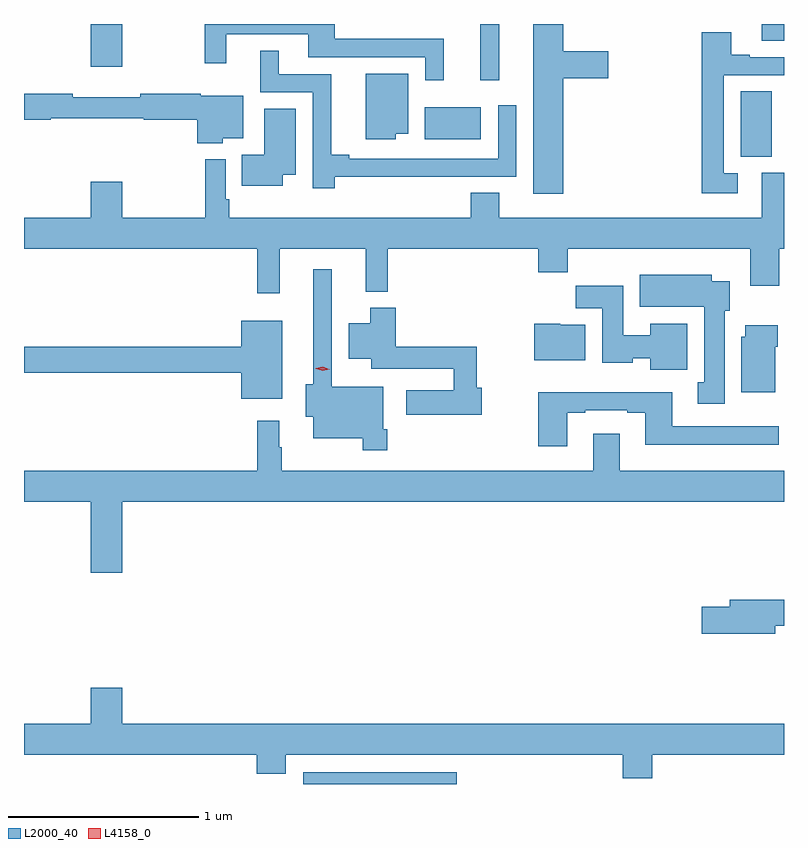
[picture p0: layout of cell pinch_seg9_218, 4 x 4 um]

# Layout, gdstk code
import gdstk
lib = gdstk.Library(unit=1e-6, precision=1e-09)
def R(c, l, rs):  # rectangles x0, y0, x1, y1
    for r in rs: c.add(gdstk.rectangle(r[:2], r[2:], *l))
def P(c, l, *ps):  # polygons
    for p in ps: c.add(gdstk.Polygon(p, *l))
L2000_40 = (2000, 40)
L4158_0 = (4158, 0)

pinch_seg9_218 = lib.new_cell('pinch_seg9_218')
R(pinch_seg9_218, L2000_40, [(609.681,1205.591,610.489,1205.652), (611.984,1208.893,612.148,1209.236), (610.322,1208.984,610.615,1209.154), (610.613,1209.294,610.712,1209.591), (608.564,1209.366,608.728,1209.591), (612.095,1209.502,612.212,1209.591)])
P(pinch_seg9_218, L2000_40, [(611.051,1209.305),(611.287,1209.305),(611.287,1209.447),(611.051,1209.447),(611.051,1209.591),(610.892,1209.591),(610.892,1208.697),(611.051,1208.697)],
  [(610.421,1209.513),(609.847,1209.513),(609.847,1209.591),(609.163,1209.591),(609.163,1209.384),(609.277,1209.384),(609.277,1209.536),(609.707,1209.536),(609.707,1209.417),(610.323,1209.417),(610.323,1209.294),(610.421,1209.294)],
  [(611.968,1208.805),(611.895,1208.805),(611.895,1209.321),(612.212,1209.321),(612.212,1209.417),(612.031,1209.417),(612.031,1209.43),(611.935,1209.43),(611.935,1209.547),(611.779,1209.547),(611.779,1208.7),(611.968,1208.7)],
  [(609.848,1208.786),(610.478,1208.786),(610.478,1208.787),(610.803,1208.787),(610.803,1209.163),(610.707,1209.163),(610.707,1208.883),(609.925,1208.883),(609.925,1208.903),(609.83,1208.903),(609.83,1209.327),(609.553,1209.327),(609.553,1209.451),(609.455,1209.451),(609.455,1209.231),(609.732,1209.231),(609.732,1208.727),(609.848,1208.727)],
  [(610.168,1209.014),(610.234,1209.014),(610.234,1209.328),(610.01,1209.328),(610.01,1208.984),(610.168,1208.984)],
  [(609.258,1208.99),(609.367,1208.99),(609.367,1209.214),(609.141,1209.214),(609.141,1209.224),(608.824,1209.224),(608.824,1209.205),(608.468,1209.205),(608.468,1209.224),(608.212,1209.224),(608.212,1209.088),(608.353,1209.088),(608.353,1209.096),(608.841,1209.096),(608.841,1209.088),(609.125,1209.088),(609.125,1208.963),(609.258,1208.963)],
  [(609.574,1208.798),(609.643,1208.798),(609.643,1209.146),(609.476,1209.146),(609.476,1208.902),(609.358,1208.902),(609.358,1208.741),(609.574,1208.741)],
  [(609.557,1208.408),(610.01,1208.408),(610.01,1208.183),(610.127,1208.183),(610.127,1208.408),(610.919,1208.408),(610.919,1208.284),(611.075,1208.284),(611.075,1208.408),(612.035,1208.408),(612.035,1208.214),(612.188,1208.214),(612.188,1208.408),(612.212,1208.408),(612.212,1208.808),(612.095,1208.808),(612.095,1208.572),(610.714,1208.572),(610.714,1208.702),(610.562,1208.702),(610.562,1208.572),(609.293,1208.572),(609.293,1208.668),(609.273,1208.668),(609.273,1208.878),(609.165,1208.878),(609.165,1208.572),(608.728,1208.572),(608.728,1208.761),(608.564,1208.761),(608.564,1208.572),(608.212,1208.572),(608.212,1208.408),(609.439,1208.408),(609.439,1208.175),(609.557,1208.175)],
  [(610.124,1207.459),(610.104,1207.459),(610.104,1207.681),(609.831,1207.681),(609.831,1208.299),(609.734,1208.299),(609.734,1207.694),(609.695,1207.694),(609.695,1207.523),(609.734,1207.523),(609.734,1207.412),(609.996,1207.412),(609.996,1207.347),(610.124,1207.347)],
  [(611.899,1208.082),(611.926,1208.082),(611.926,1208.236),(611.833,1208.236),(611.833,1208.272),(611.453,1208.272),(611.453,1208.102),(611.792,1208.102),(611.792,1207.706),(611.759,1207.706),(611.759,1207.593),(611.899,1207.593)],
  [(611.704,1208.014),(611.507,1208.014),(611.507,1207.954),(611.365,1207.954),(611.365,1208.214),(611.116,1208.214),(611.116,1208.096),(611.255,1208.096),(611.255,1207.808),(611.415,1207.808),(611.415,1207.832),(611.507,1207.832),(611.507,1207.772),(611.704,1207.772)],
  [(610.62,1207.676),(610.594,1207.676),(610.594,1207.892),(610.169,1207.892),(610.169,1208.098),(610.034,1208.098),(610.034,1208.017),(609.92,1208.017),(609.92,1207.829),(610.04,1207.829),(610.04,1207.776),(610.473,1207.776),(610.473,1207.663),(610.224,1207.663),(610.224,1207.534),(610.62,1207.534)],
  [(609.571,1208.029),(609.356,1208.029),(609.356,1207.892),(608.212,1207.892),(608.212,1207.756),(609.356,1207.756),(609.356,1207.619),(609.571,1207.619)],
  [(611.167,1208.008),(611.034,1208.008),(611.034,1208.014),(610.898,1208.014),(610.898,1207.82),(611.167,1207.82)],
  [(612.166,1207.892),(612.179,1207.892),(612.179,1208.005),(612.008,1208.005),(612.008,1207.944),(611.987,1207.944),(611.987,1207.652),(612.166,1207.652)],
  [(611.071,1207.545),(611.167,1207.545),(611.167,1207.557),(611.387,1207.557),(611.387,1207.545),(611.483,1207.545),(611.483,1207.376),(612.184,1207.376),(612.184,1207.473),(611.623,1207.473),(611.623,1207.654),(610.919,1207.654),(610.919,1207.368),(611.071,1207.368)],
  [(608.728,1207.076),(612.212,1207.076),(612.212,1207.24),(611.347,1207.24),(611.347,1207.435),(611.207,1207.435),(611.207,1207.24),(609.568,1207.24),(609.568,1207.364),(609.556,1207.364),(609.556,1207.504),(609.439,1207.504),(609.439,1207.24),(608.212,1207.24),(608.212,1207.076),(608.564,1207.076),(608.564,1206.702),(608.728,1206.702)],
  [(612.166,1206.424),(612.212,1206.424),(612.212,1206.56),(611.927,1206.56),(611.927,1206.524),(611.778,1206.524),(611.778,1206.382),(612.166,1206.382)],
  [(608.728,1206.097),(608.564,1206.097),(608.564,1205.908),(608.212,1205.908),(608.212,1205.744),(609.437,1205.744),(609.437,1205.645),(609.589,1205.645),(609.589,1205.744),(611.363,1205.744),(611.363,1205.62),(611.519,1205.62),(611.519,1205.744),(612.212,1205.744),(612.212,1205.908),(608.728,1205.908)])
P(pinch_seg9_218, L4158_0, [(609.784,1207.766),(609.748,1207.777),(609.748,1207.778),(609.748,1207.778),(609.784,1207.786),(609.819,1207.775),(609.82,1207.775),(609.819,1207.775)])

lib.write_gds('pinch_seg9_218.gds')
